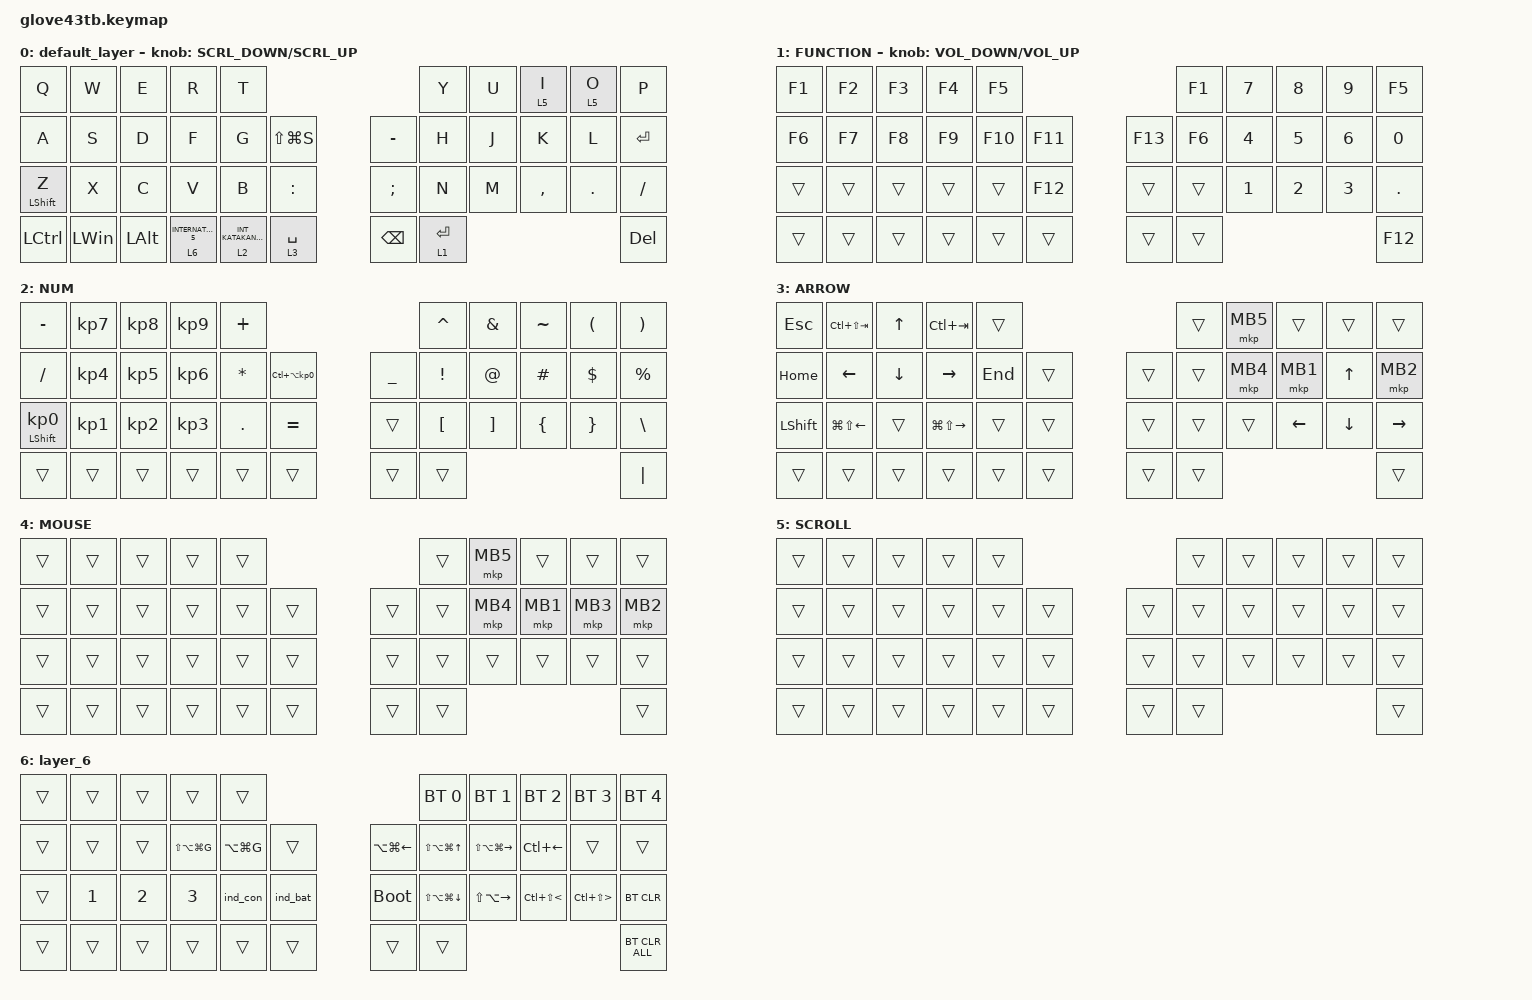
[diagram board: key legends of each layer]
#define ZMK_POINTING_DEFAULT_SCRL_VAL 150

#include <behaviors/rgbled_widget.dtsi>
#include <dt-bindings/zmk/input_transform.h>
#include <input/processors.dtsi>
#include <zephyr/dt-bindings/input/input-event-codes.h>
#include <behaviors.dtsi>
#include <dt-bindings/zmk/bt.h>
#include <dt-bindings/zmk/keys.h>
#include <dt-bindings/zmk/pointing.h>

&mt {
    flavor = "balanced";
    quick-tap-ms = <0>;
};

&mmv {
    delay-ms = <20>;
    trigger-period-ms = <5>;
    time-to-max-speed-ms = <100>;
    acceleration-exponent = <2>;
};

&msc {
    delay-ms = <3>;
    trigger-period-ms = <3>;
    time-to-max-speed-ms = <100>;
    acceleration-exponent = <0>;
};

/ {
    input_processors {
        zip_wheel_scaler: zip_wheel_scaler {
            compatible = "zmk,input-processor-scaler";
            #input-processor-cells = <2>;
            type = <INPUT_EV_REL>;
            codes = <INPUT_REL_WHEEL>;
            track-remainders;
        };
    };
};

/ {
    combos {
        compatible = "zmk,combos";

        tab {
            bindings = <&kp TAB>;
            key-positions = <10 11>;
        };

        shift_tab {
            bindings = <&kp LS(TAB)>;
            key-positions = <12 13>;
        };

        muhennkann {
            bindings = <&to_layer_0 ESCAPE>;
            key-positions = <0 1>;
        };

        double_quotation {
            bindings = <&kp DOUBLE_QUOTES>;
            key-positions = <20 21>;
        };

        eq {
            bindings = <&kp EQUAL>;
            key-positions = <24 25>;
        };

        mission {
            bindings = <&kp LC(UP_ARROW)>;
            key-positions = <8 9>;
        };
    };

    macros {
        to_layer_0: to_layer_0 {
            compatible = "zmk,behavior-macro-one-param";
            #binding-cells = <1>;
            bindings = <&to 0 &macro_param_1to1 &kp MACRO_PLACEHOLDER>;
            label = "TO_LAYER_0";
        };
    };

    behaviors {
        lt_to_layer_0: lt_to_layer_0 {
            compatible = "zmk,behavior-hold-tap";
            label = "LAYER_TAP_TO_0";
            bindings = <&mo>, <&to_layer_0>;

            #binding-cells = <2>;
            tapping-term-ms = <200>;
        };

        sensor_rotate_kp: sensor_rotate_kp {
            compatible = "zmk,behavior-sensor-rotate-var";
            #sensor-binding-cells = <2>;
            bindings = <&kp>, <&kp>;
        };

        mouse_wheel_scroll: mouse_wheel_scroll {
            compatible = "zmk,behavior-sensor-rotate-var";
            #sensor-binding-cells = <2>;
            bindings = <&msc>, <&msc>;

            tap-ms = <20>;
        };
    };

    keymap {
        compatible = "zmk,keymap";

        default_layer {
            bindings = <
&kp Q             &kp W         &kp E         &kp R                             &kp T                                                                  &kp Y        &kp U  &lt 5 I    &lt 5 O  &kp P
&kp A             &kp S         &kp D         &kp F                             &kp G                       &kp LS(LG(S))               &kp MINUS      &kp H        &kp J  &kp K      &kp L    &kp ENTER
&mt LEFT_SHIFT Z  &kp X         &kp C         &kp V                             &kp B                       &kp COLON                   &kp SEMICOLON  &kp N        &kp M  &kp COMMA  &kp DOT  &kp SLASH
&kp LCTRL         &kp LEFT_WIN  &kp LEFT_ALT  &lt_to_layer_0 6 INTERNATIONAL_5  &lt 2 INT_KATAKANAHIRAGANA  &lt_to_layer_0 3 SPACE      &kp BACKSPACE  &lt 1 ENTER                             &kp DEL
            >;

            sensor-bindings = <&mouse_wheel_scroll SCRL_DOWN SCRL_UP>;
        };

        FUNCTION {
            bindings = <
&kp F1  &kp F2  &kp F3  &kp F4  &kp F5                         &kp F1  &kp NUMBER_7  &kp NUMBER_8  &kp NUMBER_9  &kp F5
&kp F6  &kp F7  &kp F8  &kp F9  &kp F10  &kp F11      &kp F13  &kp F6  &kp NUMBER_4  &kp NUMBER_5  &kp NUMBER_6  &kp NUMBER_0
&trans  &trans  &trans  &trans  &trans   &kp F12      &trans   &trans  &kp NUMBER_1  &kp NUMBER_2  &kp NUMBER_3  &kp PERIOD
&trans  &trans  &trans  &trans  &trans   &trans       &trans   &trans                                            &kp F12
            >;

            sensor-bindings = <&sensor_rotate_kp C_VOLUME_DOWN C_VOLUME_UP>;
        };

        NUM {
            bindings = <
&kp MINUS                   &kp KP_NUMBER_7  &kp KP_NUMBER_8  &kp KP_NUMBER_9  &kp PLUS                                                   &kp CARET         &kp AMPERSAND      &kp TILDE       &kp LEFT_PARENTHESIS  &kp RIGHT_PARENTHESIS
&kp SLASH                   &kp KP_NUMBER_4  &kp KP_NUMBER_5  &kp KP_NUMBER_6  &kp ASTERISK  &kp LC(LA(KP_NUMBER_0))      &kp UNDERSCORE  &kp EXCLAMATION   &kp AT_SIGN        &kp HASH        &kp DOLLAR            &kp PERCENT
&mt LEFT_SHIFT KP_NUMBER_0  &kp KP_NUMBER_1  &kp KP_NUMBER_2  &kp KP_NUMBER_3  &kp PERIOD    &kp EQUAL                    &trans          &kp LEFT_BRACKET  &kp RIGHT_BRACKET  &kp LEFT_BRACE  &kp RIGHT_BRACE       &kp BACKSLASH
&trans                      &trans           &trans           &trans           &trans        &trans                       &trans          &trans                                                                     &kp PIPE
            >;
        };

        ARROW {
            bindings = <
&kp ESCAPE      &kp LC(LS(TAB))         &kp UP_ARROW    &kp LC(TAB)              &trans                       &trans  &mkp MB5  &trans          &trans          &trans
&kp HOME        &kp LEFT_ARROW          &kp DOWN_ARROW  &kp RIGHT_ARROW          &kp END  &trans      &trans  &trans  &mkp MB4  &mkp MB1        &kp UP_ARROW    &mkp MB2
&kp LEFT_SHIFT  &kp LG(LS(LEFT_ARROW))  &trans          &kp LG(LS(RIGHT_ARROW))  &trans   &trans      &trans  &trans  &trans    &kp LEFT_ARROW  &kp DOWN_ARROW  &kp RIGHT_ARROW
&trans          &trans                  &trans          &trans                   &trans   &trans      &trans  &trans                                            &trans
            >;
        };

        MOUSE {
            bindings = <
&trans  &trans  &trans  &trans  &trans                      &trans  &mkp MB5  &trans    &trans    &trans
&trans  &trans  &trans  &trans  &trans  &trans      &trans  &trans  &mkp MB4  &mkp MB1  &mkp MB3  &mkp MB2
&trans  &trans  &trans  &trans  &trans  &trans      &trans  &trans  &trans    &trans    &trans    &trans
&trans  &trans  &trans  &trans  &trans  &trans      &trans  &trans                                &trans
            >;
        };

        SCROLL {
            bindings = <
&trans  &trans  &trans  &trans  &trans                      &trans  &trans  &trans  &trans  &trans
&trans  &trans  &trans  &trans  &trans  &trans      &trans  &trans  &trans  &trans  &trans  &trans
&trans  &trans  &trans  &trans  &trans  &trans      &trans  &trans  &trans  &trans  &trans  &trans
&trans  &trans  &trans  &trans  &trans  &trans      &trans  &trans                          &trans
            >;
        };

        layer_6 {
            bindings = <
&trans  &trans        &trans        &trans             &trans                                               &bt BT_SEL 0                &bt BT_SEL 1                 &bt BT_SEL 2           &bt BT_SEL 3              &bt BT_SEL 4
&trans  &trans        &trans        &kp LS(LA(LG(G)))  &kp LA(LG(G))  &trans        &kp LA(LG(LEFT_ARROW))  &kp LS(LA(LG(UP_ARROW)))    &kp LS(LA(LG(RIGHT_ARROW)))  &kp LC(LEFT_ARROW)     &trans                    &trans
&trans  &kp NUMBER_1  &kp NUMBER_2  &kp NUMBER_3       &ind_con       &ind_bat      &bootloader             &kp LS(LA(LG(DOWN_ARROW)))  &kp LS(LA(RIGHT))            &kp LC(LS(LESS_THAN))  &kp LC(LS(GREATER_THAN))  &bt BT_CLR
&trans  &trans        &trans        &trans             &trans         &trans        &trans                  &trans                                                                                                    &bt BT_CLR_ALL
            >;
        };
    };
};
